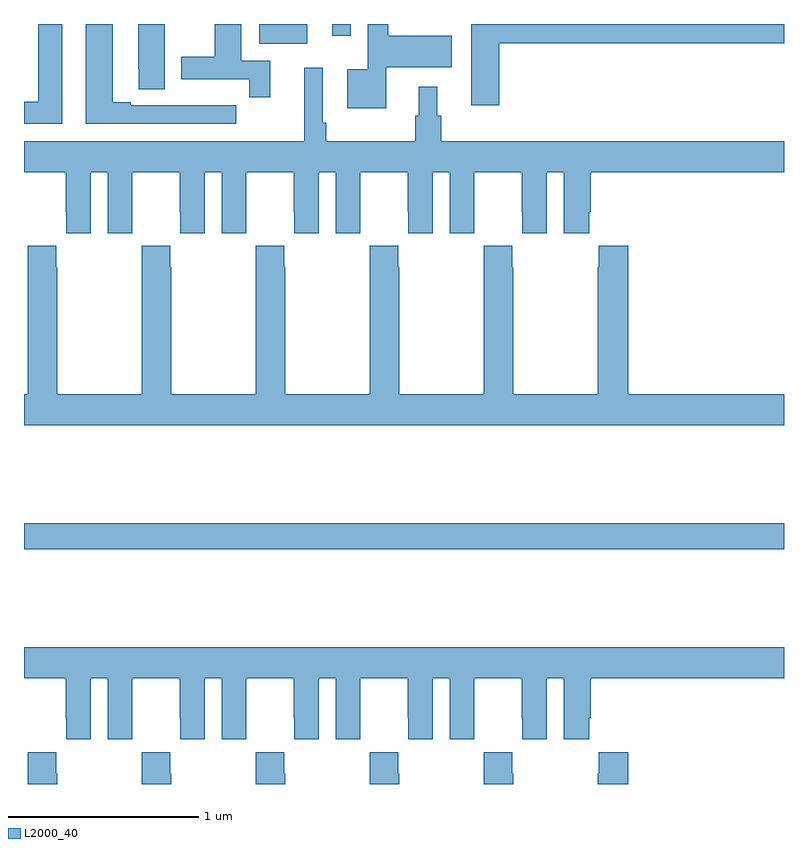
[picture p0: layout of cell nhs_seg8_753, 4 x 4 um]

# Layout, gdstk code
import gdstk
lib = gdstk.Library(unit=1e-6, precision=1e-09)
def R(c, l, rs):  # rectangles x0, y0, x1, y1
    for r in rs: c.add(gdstk.rectangle(r[:2], r[2:], *l))
def P(c, l, *ps):  # polygons
    for p in ps: c.add(gdstk.Polygon(p, *l))
L2000_40 = (2000, 40)

nhs_seg8_753 = lib.new_cell('nhs_seg8_753')
R(nhs_seg8_753, L2000_40, [(159,1161.136,163,1161.272), (160.238,1163.795,160.492,1163.9), (160.622,1163.838,160.719,1163.9)])
P(nhs_seg8_753, L2000_40, [(161.501,1163.8),(163,1163.8),(163,1163.9),(161.354,1163.9),(161.354,1163.472),(161.501,1163.472)],
  [(160.295,1163.706),(160.144,1163.706),(160.144,1163.9),(160.004,1163.9),(160.004,1163.727),(159.827,1163.727),(159.827,1163.61),(160.186,1163.61),(160.186,1163.514),(160.295,1163.514)],
  [(160.906,1163.672),(161.251,1163.672),(161.251,1163.838),(160.918,1163.838),(160.918,1163.9),(160.809,1163.9),(160.809,1163.662),(160.7,1163.662),(160.7,1163.456),(160.906,1163.456)],
  [(159.202,1163.9),(159.074,1163.9),(159.074,1163.492),(159,1163.492),(159,1163.376),(159.202,1163.376)],
  [(159.742,1163.9),(159.602,1163.9),(159.602,1163.665),(159.603,1163.665),(159.603,1163.557),(159.742,1163.557)],
  [(160.117,1163.472),(160.004,1163.472),(160.004,1163.473),(159.838,1163.473),(159.838,1163.472),(159.562,1163.472),(159.562,1163.487),(159.466,1163.487),(159.466,1163.9),(159.326,1163.9),(159.326,1163.376),(160.117,1163.376)],
  [(161.078,1163.569),(161.078,1163.418),(161.059,1163.418),(161.059,1163.284),(160.592,1163.284),(160.592,1163.38),(160.572,1163.38),(160.572,1163.671),(160.475,1163.671),(160.475,1163.284),(159,1163.284),(159,1163.12),(159.221,1163.12),(159.221,1162.912),(159.222,1162.912),(159.222,1162.8),(159.352,1162.8),(159.352,1163.12),(159.44,1163.12),(159.44,1162.8),(159.57,1162.8),(159.57,1162.912),(159.571,1162.912),(159.571,1163.12),(159.821,1163.12),(159.821,1162.912),(159.822,1162.912),(159.822,1162.8),(159.952,1162.8),(159.952,1163.12),(160.04,1163.12),(160.04,1162.8),(160.17,1162.8),(160.17,1162.912),(160.171,1162.912),(160.171,1163.12),(160.421,1163.12),(160.421,1162.912),(160.422,1162.912),(160.422,1162.8),(160.552,1162.8),(160.552,1163.12),(160.64,1163.12),(160.64,1162.8),(160.77,1162.8),(160.77,1162.912),(160.771,1162.912),(160.771,1163.12),(161.021,1163.12),(161.021,1162.912),(161.022,1162.912),(161.022,1162.8),(161.152,1162.8),(161.152,1163.12),(161.24,1163.12),(161.24,1162.8),(161.37,1162.8),(161.37,1162.912),(161.371,1162.912),(161.371,1163.12),(161.621,1163.12),(161.621,1162.912),(161.622,1162.912),(161.622,1162.8),(161.752,1162.8),(161.752,1163.12),(161.84,1163.12),(161.84,1162.8),(161.974,1162.8),(161.974,1162.912),(161.984,1162.912),(161.984,1163.12),(163,1163.12),(163,1163.284),(161.195,1163.284),(161.195,1163.418),(161.176,1163.418),(161.176,1163.569)],
  [(159.021,1162.732),(159.021,1162.619),(159.019,1162.619),(159.019,1161.952),(159,1161.952),(159,1161.788),(163,1161.788),(163,1161.952),(162.179,1161.952),(162.179,1162.732),(162.025,1162.732),(162.025,1162.619),(162.019,1162.619),(162.019,1161.952),(161.574,1161.952),(161.574,1162.619),(161.571,1162.619),(161.571,1162.732),(161.421,1162.732),(161.421,1162.619),(161.419,1162.619),(161.419,1161.952),(160.974,1161.952),(160.974,1162.619),(160.971,1162.619),(160.971,1162.732),(160.821,1162.732),(160.821,1162.619),(160.819,1162.619),(160.819,1161.952),(160.374,1161.952),(160.374,1162.619),(160.371,1162.619),(160.371,1162.732),(160.221,1162.732),(160.221,1162.619),(160.219,1162.619),(160.219,1161.952),(159.774,1161.952),(159.774,1162.619),(159.771,1162.619),(159.771,1162.732),(159.621,1162.732),(159.621,1162.619),(159.619,1162.619),(159.619,1161.952),(159.174,1161.952),(159.174,1162.619),(159.171,1162.619),(159.171,1162.732)],
  [(159.352,1160.456),(159.44,1160.456),(159.44,1160.136),(159.57,1160.136),(159.57,1160.248),(159.571,1160.248),(159.571,1160.456),(159.821,1160.456),(159.821,1160.248),(159.822,1160.248),(159.822,1160.136),(159.952,1160.136),(159.952,1160.456),(160.04,1160.456),(160.04,1160.136),(160.17,1160.136),(160.17,1160.248),(160.171,1160.248),(160.171,1160.456),(160.421,1160.456),(160.421,1160.248),(160.422,1160.248),(160.422,1160.136),(160.552,1160.136),(160.552,1160.456),(160.64,1160.456),(160.64,1160.136),(160.77,1160.136),(160.77,1160.248),(160.771,1160.248),(160.771,1160.456),(161.021,1160.456),(161.021,1160.248),(161.022,1160.248),(161.022,1160.136),(161.152,1160.136),(161.152,1160.456),(161.24,1160.456),(161.24,1160.136),(161.37,1160.136),(161.37,1160.248),(161.371,1160.248),(161.371,1160.456),(161.621,1160.456),(161.621,1160.248),(161.622,1160.248),(161.622,1160.136),(161.752,1160.136),(161.752,1160.456),(161.84,1160.456),(161.84,1160.136),(161.974,1160.136),(161.974,1160.248),(161.984,1160.248),(161.984,1160.456),(163,1160.456),(163,1160.62),(159,1160.62),(159,1160.456),(159.221,1160.456),(159.221,1160.248),(159.222,1160.248),(159.222,1160.136),(159.352,1160.136)],
  [(159.774,1159.955),(159.771,1159.955),(159.771,1160.068),(159.621,1160.068),(159.621,1159.955),(159.619,1159.955),(159.619,1159.9),(159.774,1159.9)],
  [(159.174,1159.955),(159.171,1159.955),(159.171,1160.068),(159.021,1160.068),(159.021,1159.955),(159.019,1159.955),(159.019,1159.9),(159.174,1159.9)],
  [(160.374,1159.955),(160.371,1159.955),(160.371,1160.068),(160.221,1160.068),(160.221,1159.955),(160.219,1159.955),(160.219,1159.9),(160.374,1159.9)],
  [(160.974,1159.955),(160.971,1159.955),(160.971,1160.068),(160.821,1160.068),(160.821,1159.955),(160.819,1159.955),(160.819,1159.9),(160.974,1159.9)],
  [(161.574,1159.955),(161.571,1159.955),(161.571,1160.068),(161.421,1160.068),(161.421,1159.955),(161.419,1159.955),(161.419,1159.9),(161.574,1159.9)],
  [(162.179,1160.068),(162.025,1160.068),(162.025,1159.955),(162.019,1159.955),(162.019,1159.9),(162.179,1159.9)])

lib.write_gds('nhs_seg8_753.gds')
